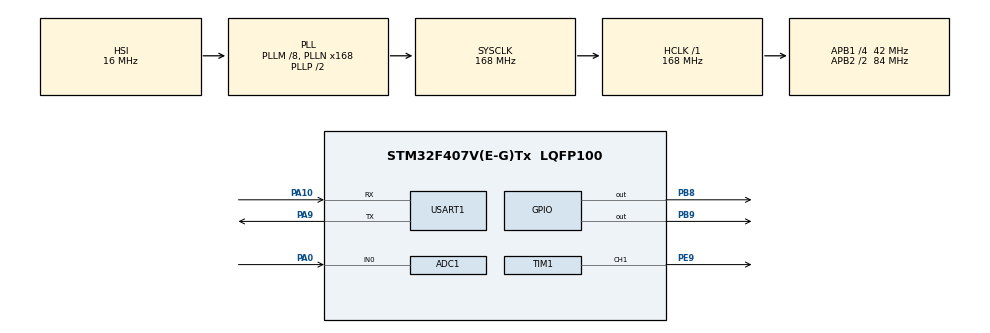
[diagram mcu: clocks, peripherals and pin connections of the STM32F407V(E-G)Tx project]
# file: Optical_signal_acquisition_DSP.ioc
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ADC1.Channel-0\#ChannelRegularConversion=ADC_CHANNEL_0
ADC1.ContinuousConvMode=DISABLE
ADC1.DMAContinuousRequests=ENABLE
ADC1.ExternalTrigConv=ADC_EXTERNALTRIGCONV_T2_TRGO
ADC1.NbrOfConversionFlag=1
ADC1.Rank-0\#ChannelRegularConversion=1
ADC1.Resolution=ADC_RESOLUTION_12B
ADC1.SamplingTime-0\#ChannelRegularConversion=ADC_SAMPLETIME_3CYCLES
ADC1.master=1
Dma.ADC1.0.Direction=DMA_PERIPH_TO_MEMORY
Dma.ADC1.0.FIFOMode=DMA_FIFOMODE_DISABLE
Dma.ADC1.0.Instance=DMA2_Stream0
Dma.ADC1.0.MemDataAlignment=DMA_MDATAALIGN_HALFWORD
Dma.ADC1.0.MemInc=DMA_MINC_ENABLE
Dma.ADC1.0.Mode=DMA_CIRCULAR
Dma.ADC1.0.PeriphDataAlignment=DMA_PDATAALIGN_HALFWORD
Dma.ADC1.0.PeriphInc=DMA_PINC_DISABLE
Dma.ADC1.0.Priority=DMA_PRIORITY_LOW
Dma.Request0=ADC1
Mcu.Family=STM32F4
Mcu.Name=STM32F407V(E-G)Tx
Mcu.Package=LQFP100
NVIC.DMA2_Stream0_IRQn=true\:0\:0\:false\:false\:true\:false\:true\:true
NVIC.PriorityGroup=NVIC_PRIORITYGROUP_4
PA0-WKUP.Signal=ADCx_IN0
PA10.Mode=Asynchronous
PA10.Signal=USART1_RX
PA13.Mode=Serial_Wire
PA13.Signal=SYS_JTMS-SWDIO
PA14.Mode=Serial_Wire
PA14.Signal=SYS_JTCK-SWCLK
PA9.Mode=Asynchronous
PA9.Signal=USART1_TX
PB8.GPIO_ModeDefaultOutputPP=GPIO_MODE_OUTPUT_OD
PB8.GPIO_PuPd=GPIO_PULLUP
PB8.GPIO_Speed=GPIO_SPEED_FREQ_VERY_HIGH
PB8.PinState=GPIO_PIN_SET
PB8.Signal=GPIO_Output
PB9.GPIO_ModeDefaultOutputPP=GPIO_MODE_OUTPUT_OD
PB9.GPIO_PuPd=GPIO_PULLUP
PB9.GPIO_Speed=GPIO_SPEED_FREQ_VERY_HIGH
PB9.PinState=GPIO_PIN_SET
PB9.Signal=GPIO_Output
PE9.Signal=S_TIM1_CH1
ProjectManager.HeapSize=0x200
ProjectManager.StackSize=0x400
ProjectManager.TargetToolchain=CMake
RCC.48MHZClocksFreq_Value=84000000
RCC.AHBFreq_Value=168000000
RCC.APB1CLKDivider=RCC_HCLK_DIV4
RCC.APB1Freq_Value=42000000
RCC.APB1TimFreq_Value=84000000
RCC.APB2CLKDivider=RCC_HCLK_DIV2
RCC.APB2Freq_Value=84000000
RCC.APB2TimFreq_Value=168000000
RCC.CortexFreq_Value=168000000
RCC.HCLKFreq_Value=168000000
RCC.HSE_VALUE=25000000
RCC.HSI_VALUE=16000000
RCC.LSE_VALUE=32768
RCC.PLLM=8
RCC.PLLN=168
RCC.SYSCLKFreq_VALUE=168000000
RCC.SYSCLKSource=RCC_SYSCLKSOURCE_PLLCLK
RCC.VCOOutputFreq_Value=336000000
SH.ADCx_IN0.0=ADC1_IN0,IN0
SH.S_TIM1_CH1.0=TIM1_CH1,PWM Generation1 CH1
TIM1.AutoReloadPreload=TIM_AUTORELOAD_PRELOAD_ENABLE
TIM1.Channel-PWM\ Generation1\ CH1=TIM_CHANNEL_1
TIM1.Period=99
TIM1.Prescaler=167
TIM1.Pulse-PWM\ Generation1\ CH1=1000
TIM2.Period=19
TIM2.Prescaler=83
TIM2.TIM_MasterOutputTrigger=TIM_TRGO_UPDATE
USART1.VirtualMode=VM_ASYNC
VP_TIM1_VS_ClockSourceINT.Mode=Internal
VP_TIM2_VS_ClockSourceINT.Mode=Internal
board=custom

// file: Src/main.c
/* USER CODE BEGIN Header */
/**
  ******************************************************************************
  * @file           : main.c
  * @brief          : Main program body
  ******************************************************************************
  * @attention
  *
  * Copyright (c) 2026 STMicroelectronics.
  * All rights reserved.
  *
  * This software is licensed under terms that can be found in the LICENSE file
  * in the root directory of this software component.
  * If no LICENSE file comes with this software, it is provided AS-IS.
  *
  ******************************************************************************
  */
/* USER CODE END Header */
#include "main.h"
#include "stm32f4xx_hal_gpio.h"

/* USER CODE BEGIN Includes */
#include "system_manager.h"
#include "cmis_protocol.h"
#include "stdio.h"
#include "string.h"
/* USER CODE END Includes */

ADC_HandleTypeDef hadc1;
DMA_HandleTypeDef hdma_adc1;

TIM_HandleTypeDef htim1;
TIM_HandleTypeDef htim2;

UART_HandleTypeDef huart1;

void SystemClock_Config(void);
static void MX_GPIO_Init(void);
static void MX_DMA_Init(void);
static void MX_ADC1_Init(void);
static void MX_USART1_UART_Init(void);
static void MX_TIM1_Init(void);
static void MX_TIM2_Init(void);

/* USER CODE BEGIN 0 */
// ADC DMA 双缓冲: [0..499] 和 [500..999], 由半传输和完成中断交替使用
uint16_t adc_buffer[1000];
// ADC DMA完成标志 (当前未使用, 后续可用于触发处理)
volatile uint8_t fft_ready_flag = 0;
/* USER CODE END 0 */

int main(void)
{

  /* MCU Configuration--------------------------------------------------------*/

  /* Reset of all peripherals, Initializes the Flash interface and the Systick. */
  HAL_Init();

  /* Configure the system clock */
  SystemClock_Config();

  /* Initialize all configured peripherals */
  MX_GPIO_Init();
  MX_DMA_Init();
  MX_ADC1_Init();
  MX_USART1_UART_Init();
  MX_TIM1_Init();
  MX_TIM2_Init();
  /* USER CODE BEGIN 2 */
  // 初始化系统管理器 (绑定 TIM1/ADC1/UART1)
  SysMgr_Init(&htim1, &hadc1, &huart1);
  // 启动 TIM2: 50kHz 触发 ADC (84MHz / (83+1) / (19+1) = 50kHz)
  HAL_TIM_Base_Start(&htim2);
  // 启动 ADC DMA 循环采样: 1000个采样点, 双缓冲交替 (半传输/完成中断)
  HAL_ADC_Start_DMA(&hadc1, (uint32_t*)adc_buffer, 1000);
  /* USER CODE END 2 */

  /* Infinite loop */
  while (1)
  {
    /* USER CODE BEGIN 3 */
    SysMgr_Run();
  }
  /* USER CODE END 3 */
}

void SystemClock_Config(void)
{
  RCC_OscInitTypeDef RCC_OscInitStruct = {0};
  RCC_ClkInitTypeDef RCC_ClkInitStruct = {0};

  /** Configure the main internal regulator output voltage
  */
  __HAL_RCC_PWR_CLK_ENABLE();
  __HAL_PWR_VOLTAGESCALING_CONFIG(PWR_REGULATOR_VOLTAGE_SCALE1);

  /** Initializes the RCC Oscillators according to the specified parameters
  * in the RCC_OscInitTypeDef structure.
  */
  RCC_OscInitStruct.OscillatorType = RCC_OSCILLATORTYPE_HSI;
  RCC_OscInitStruct.HSIState = RCC_HSI_ON;
  RCC_OscInitStruct.HSICalibrationValue = RCC_HSICALIBRATION_DEFAULT;
  RCC_OscInitStruct.PLL.PLLState = RCC_PLL_ON;
  RCC_OscInitStruct.PLL.PLLSource = RCC_PLLSOURCE_HSI;
  RCC_OscInitStruct.PLL.PLLM = 8;
  RCC_OscInitStruct.PLL.PLLN = 168;
  RCC_OscInitStruct.PLL.PLLP = RCC_PLLP_DIV2;
  RCC_OscInitStruct.PLL.PLLQ = 4;
  if (HAL_RCC_OscConfig(&RCC_OscInitStruct) != HAL_OK)
  {
    Error_Handler();
  }

  /** Initializes the CPU, AHB and APB buses clocks
  */
  RCC_ClkInitStruct.ClockType = RCC_CLOCKTYPE_HCLK|RCC_CLOCKTYPE_SYSCLK
                              |RCC_CLOCKTYPE_PCLK1|RCC_CLOCKTYPE_PCLK2;
  RCC_ClkInitStruct.SYSCLKSource = RCC_SYSCLKSOURCE_PLLCLK;
  RCC_ClkInitStruct.AHBCLKDivider = RCC_SYSCLK_DIV1;
  RCC_ClkInitStruct.APB1CLKDivider = RCC_HCLK_DIV4;
  RCC_ClkInitStruct.APB2CLKDivider = RCC_HCLK_DIV2;

  if (HAL_RCC_ClockConfig(&RCC_ClkInitStruct, FLASH_LATENCY_5) != HAL_OK)
  {
    Error_Handler();
  }
}

static void MX_ADC1_Init(void)
{

  ADC_ChannelConfTypeDef sConfig = {0};

  /** Configure the global features of the ADC (Clock, Resolution, Data Alignment and number of conversion)
  */
  hadc1.Instance = ADC1;
  hadc1.Init.ClockPrescaler = ADC_CLOCK_SYNC_PCLK_DIV4;
  hadc1.Init.Resolution = ADC_RESOLUTION_12B;
  hadc1.Init.ScanConvMode = DISABLE;
  hadc1.Init.ContinuousConvMode = DISABLE;
  hadc1.Init.DiscontinuousConvMode = DISABLE;
  hadc1.Init.ExternalTrigConvEdge = ADC_EXTERNALTRIGCONVEDGE_RISING;
  hadc1.Init.ExternalTrigConv = ADC_EXTERNALTRIGCONV_T2_TRGO;
  hadc1.Init.DataAlign = ADC_DATAALIGN_RIGHT;
  hadc1.Init.NbrOfConversion = 1;
  hadc1.Init.DMAContinuousRequests = ENABLE;
  hadc1.Init.EOCSelection = ADC_EOC_SINGLE_CONV;
  if (HAL_ADC_Init(&hadc1) != HAL_OK)
  {
    Error_Handler();
  }

  /** Configure for the selected ADC regular channel its corresponding rank in the sequencer and its sample time.
  */
  sConfig.Channel = ADC_CHANNEL_0;
  sConfig.Rank = 1;
  sConfig.SamplingTime = ADC_SAMPLETIME_3CYCLES;
  if (HAL_ADC_ConfigChannel(&hadc1, &sConfig) != HAL_OK)
  {
    Error_Handler();
  }

}

static void MX_TIM1_Init(void)
{

  TIM_ClockConfigTypeDef sClockSourceConfig = {0};
  TIM_MasterConfigTypeDef sMasterConfig = {0};
  TIM_OC_InitTypeDef sConfigOC = {0};
  TIM_BreakDeadTimeConfigTypeDef sBreakDeadTimeConfig = {0};

  htim1.Instance = TIM1;
  htim1.Init.Prescaler = 167;
  htim1.Init.CounterMode = TIM_COUNTERMODE_UP;
  htim1.Init.Period = 99;
  htim1.Init.ClockDivision = TIM_CLOCKDIVISION_DIV1;
  htim1.Init.RepetitionCounter = 0;
  htim1.Init.AutoReloadPreload = TIM_AUTORELOAD_PRELOAD_ENABLE;
  if (HAL_TIM_Base_Init(&htim1) != HAL_OK)
  {
    Error_Handler();
  }
  sClockSourceConfig.ClockSource = TIM_CLOCKSOURCE_INTERNAL;
  if (HAL_TIM_ConfigClockSource(&htim1, &sClockSourceConfig) != HAL_OK)
  {
    Error_Handler();
  }
  if (HAL_TIM_PWM_Init(&htim1) != HAL_OK)
  {
    Error_Handler();
  }
  sMasterConfig.MasterOutputTrigger = TIM_TRGO_RESET;
  sMasterConfig.MasterSlaveMode = TIM_MASTERSLAVEMODE_DISABLE;
  if (HAL_TIMEx_MasterConfigSynchronization(&htim1, &sMasterConfig) != HAL_OK)
  {
    Error_Handler();
  }
  sConfigOC.OCMode = TIM_OCMODE_PWM1;
  sConfigOC.Pulse = 1000;
  sConfigOC.OCPolarity = TIM_OCPOLARITY_HIGH;
  sConfigOC.OCNPolarity = TIM_OCNPOLARITY_HIGH;
  sConfigOC.OCFastMode = TIM_OCFAST_DISABLE;
  sConfigOC.OCIdleState = TIM_OCIDLESTATE_RESET;
  sConfigOC.OCNIdleState = TIM_OCNIDLESTATE_RESET;
  if (HAL_TIM_PWM_ConfigChannel(&htim1, &sConfigOC, TIM_CHANNEL_1) != HAL_OK)
  {
    Error_Handler();
  }
  sBreakDeadTimeConfig.OffStateRunMode = TIM_OSSR_DISABLE;
  sBreakDeadTimeConfig.OffStateIDLEMode = TIM_OSSI_DISABLE;
  sBreakDeadTimeConfig.LockLevel = TIM_LOCKLEVEL_OFF;
  sBreakDeadTimeConfig.DeadTime = 0;
  sBreakDeadTimeConfig.BreakState = TIM_BREAK_DISABLE;
  sBreakDeadTimeConfig.BreakPolarity = TIM_BREAKPOLARITY_HIGH;
  sBreakDeadTimeConfig.AutomaticOutput = TIM_AUTOMATICOUTPUT_DISABLE;
  if (HAL_TIMEx_ConfigBreakDeadTime(&htim1, &sBreakDeadTimeConfig) != HAL_OK)
  {
    Error_Handler();
  }
  HAL_TIM_MspPostInit(&htim1);

}

static void MX_TIM2_Init(void)
{

  TIM_ClockConfigTypeDef sClockSourceConfig = {0};
  TIM_MasterConfigTypeDef sMasterConfig = {0};

  htim2.Instance = TIM2;
  htim2.Init.Prescaler = 83;
  htim2.Init.CounterMode = TIM_COUNTERMODE_UP;
  htim2.Init.Period = 19;
  htim2.Init.ClockDivision = TIM_CLOCKDIVISION_DIV1;
  htim2.Init.AutoReloadPreload = TIM_AUTORELOAD_PRELOAD_DISABLE;
  if (HAL_TIM_Base_Init(&htim2) != HAL_OK)
  {
    Error_Handler();
  }
  sClockSourceConfig.ClockSource = TIM_CLOCKSOURCE_INTERNAL;
  if (HAL_TIM_ConfigClockSource(&htim2, &sClockSourceConfig) != HAL_OK)
  {
    Error_Handler();
  }
  sMasterConfig.MasterOutputTrigger = TIM_TRGO_UPDATE;
  sMasterConfig.MasterSlaveMode = TIM_MASTERSLAVEMODE_DISABLE;
  if (HAL_TIMEx_MasterConfigSynchronization(&htim2, &sMasterConfig) != HAL_OK)
  {
    Error_Handler();
  }

}

static void MX_USART1_UART_Init(void)
{

  huart1.Instance = USART1;
  huart1.Init.BaudRate = 115200;
  huart1.Init.WordLength = UART_WORDLENGTH_8B;
  huart1.Init.StopBits = UART_STOPBITS_1;
  huart1.Init.Parity = UART_PARITY_NONE;
  huart1.Init.Mode = UART_MODE_TX_RX;
  huart1.Init.HwFlowCtl = UART_HWCONTROL_NONE;
  huart1.Init.OverSampling = UART_OVERSAMPLING_16;
  if (HAL_UART_Init(&huart1) != HAL_OK)
  {
    Error_Handler();
  }

}

static void MX_DMA_Init(void)
{

  /* DMA controller clock enable */
  __HAL_RCC_DMA2_CLK_ENABLE();

  /* DMA interrupt init */
  /* DMA2_Stream0_IRQn interrupt configuration */
  HAL_NVIC_SetPriority(DMA2_Stream0_IRQn, 1, 0);
  HAL_NVIC_EnableIRQ(DMA2_Stream0_IRQn);

}

static void MX_GPIO_Init(void)
{
  GPIO_InitTypeDef GPIO_InitStruct = {0};

  /* GPIO Ports Clock Enable */
  __HAL_RCC_GPIOA_CLK_ENABLE();
  __HAL_RCC_GPIOE_CLK_ENABLE();
  __HAL_RCC_GPIOB_CLK_ENABLE();

  /*Configure GPIO pin Output Level */
  HAL_GPIO_WritePin(GPIOB, GPIO_PIN_8|GPIO_PIN_9, GPIO_PIN_RESET);

  /*Configure GPIO pins : PB8 PB9 */
  GPIO_InitStruct.Pin = GPIO_PIN_8|GPIO_PIN_9;
  GPIO_InitStruct.Mode = GPIO_MODE_OUTPUT_OD;
  GPIO_InitStruct.Pull = GPIO_PULLUP;
  GPIO_InitStruct.Speed = GPIO_SPEED_FREQ_LOW;
  HAL_GPIO_Init(GPIOB, &GPIO_InitStruct);

}

/* USER CODE BEGIN 4 */
extern uint16_t adc_buffer[1000];

// ADC DMA 传输完成回调: 处理后半段 adc_buffer[500..999]
void HAL_ADC_ConvCpltCallback(ADC_HandleTypeDef* hadc) {
    if(hadc == &hadc1) {
        fft_ready_flag = 1;
        SysMgr_OnADC_DMAComplete(&adc_buffer[500], 500);
    }
}

// ADC DMA 半传输完成回调: 处理前半段 adc_buffer[0..499]
// 半传输和完成交替触发, 实现数据流的无缝处理
void HAL_ADC_ConvHalfCpltCallback(ADC_HandleTypeDef* hadc) {
    if(hadc == &hadc1) {
        SysMgr_OnADC_DMAHalfComplete(adc_buffer, 500);
    }
}

// UART 接收完成回调: 每收到一个字节传入 CMIS 协议解析, 并重新启动接收
void HAL_UART_RxCpltCallback(UART_HandleTypeDef *huart) {
    if(huart == &huart1) {
        SysMgr_OnUART_RxChar(cmis_uart_rx_char);
        // 重新使能中断接收下一个字节 (STM32 HAL 单字节接收需要手动重启)
        HAL_UART_Receive_IT(&huart1, &cmis_uart_rx_char, 1);
    }
}
/* USER CODE END 4 */

void Error_Handler(void)
{
  __disable_irq();
  while (1)
  {
  }
}
